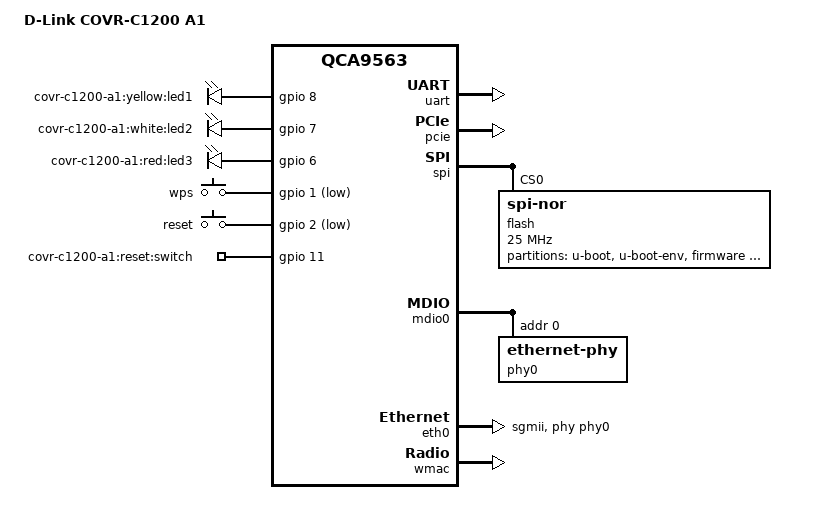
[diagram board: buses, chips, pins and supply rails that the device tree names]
// SPDX-License-Identifier: GPL-2.0-or-later OR MIT
/dts-v1/;

#include <dt-bindings/gpio/gpio.h>
#include <dt-bindings/input/input.h>

#include "qca956x.dtsi"

/ {
	model = "D-Link COVR-C1200 A1";
	compatible = "dlink,covr-c1200-a1", "qca,qca9563";

	aliases {
		led-boot = &led3;
		led-failsafe = &led3;
		led-running = &led2;
		led-upgrade = &led3;
	};

	chosen {
		bootargs = "console=ttyS0,115200n8";
	};

	leds {
		compatible = "gpio-leds";

		led1: led1 {
			label = "covr-c1200-a1:yellow:led1";
			gpios = <&gpio 8 GPIO_ACTIVE_HIGH>;
		};

		led2: led2 {
			label = "covr-c1200-a1:white:led2";
			gpios = <&gpio 7 GPIO_ACTIVE_HIGH>;
		};

		led3: led3 {
			label = "covr-c1200-a1:red:led3";
			gpios = <&gpio 6 GPIO_ACTIVE_HIGH>;
		};
	};

	keys {
		compatible = "gpio-keys-polled";
		poll-interval = <20>;

		wps {
			linux,code = <KEY_WPS_BUTTON>;
			gpios = <&gpio 1 GPIO_ACTIVE_LOW>;
			debounce-interval = <60>;
		};

		reset {
			linux,code = <KEY_RESTART>;
			gpios = <&gpio 2 GPIO_ACTIVE_LOW>;
			debounce-interval = <60>;
		};
	};

	gpio-export {
		compatible = "gpio-export";
		#size-cells = <0>;

		gpio_switch_reset {
			gpio-export,name = "covr-c1200-a1:reset:switch";
			gpio-export,output = <1>;
			gpios = <&gpio 11 GPIO_ACTIVE_HIGH>;
		};
	};
};

&uart {
	status = "okay";
};

&gpio {
	status = "okay";
};

&pcie {
	status = "okay";
};

&spi {
	num-cs = <1>;

	status = "okay";

	flash@0 {
		compatible = "jedec,spi-nor";
		reg = <0>;
		spi-max-frequency = <25000000>;

		partitions {
			compatible = "fixed-partitions";
			#address-cells = <1>;
			#size-cells = <1>;

			partition@0 {
				label = "u-boot";
				reg = <0x000000 0x40000>;
				read-only;
			};

			partition@40000 {
				label = "u-boot-env";
				reg = <0x040000 0x10000>;
				read-only;
			};

			firmware: partition@50000 {
				label = "firmware";
				reg = <0x050000 0xfa0000>;
			};

			art: partition@ff0000 {
				label = "art";
				reg = <0xff0000 0x010000>;
				read-only;
			};
		};
	};
};

&mdio0 {
	status = "okay";

	phy-mask = <0>;

	phy0: ethernet-phy@0 {
		reg = <0>;
		phy-mode = "sgmii";
		qca,mib-poll-interval = <500>;

		qca,ar8327-initvals = <
			0x04 0x00080080 /* PORT0 PAD MODE CTRL */
			0x10 0x81000080 /* POWER_ON_STRIP */
			0x7c 0x0000007e /* PORT0_STATUS */
			>;
	};
};

&eth0 {
	status = "okay";

	pll-data = <0x03000101 0x00000101 0x00001919>;
	mtd-mac-address = <&art 0x0>;

	phy-mode = "sgmii";
	phy-handle = <&phy0>;
};

&wmac {
	status = "okay";
	mtd-cal-data = <&art 0x1000>;
	mtd-mac-address = <&art 0x0>;
	mtd-mac-address-increment = <2>;
};
